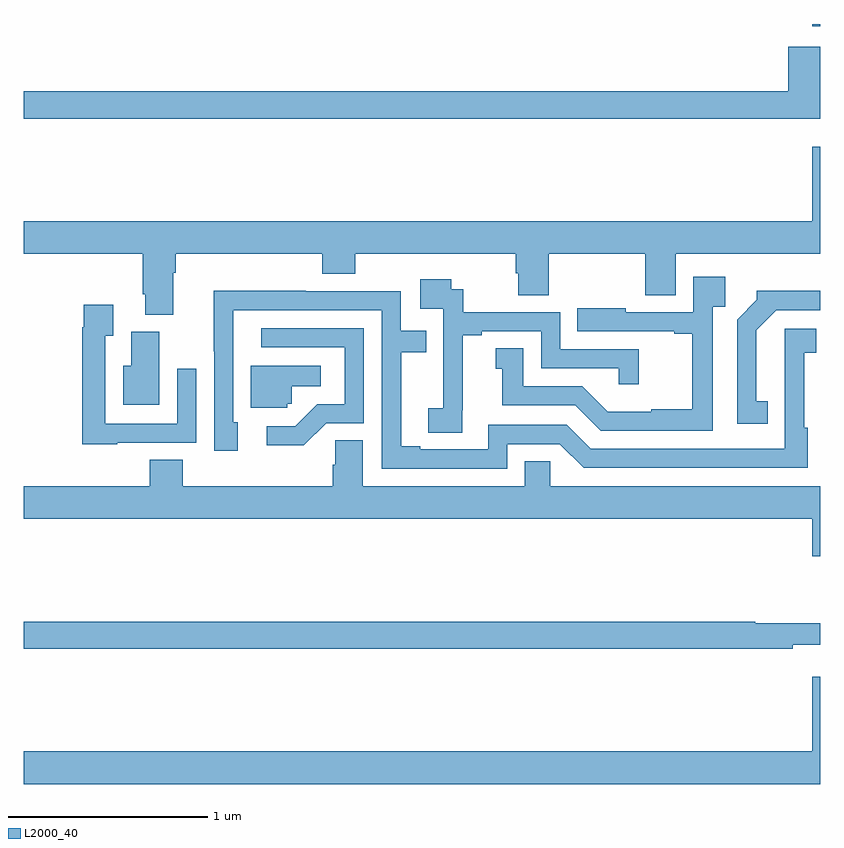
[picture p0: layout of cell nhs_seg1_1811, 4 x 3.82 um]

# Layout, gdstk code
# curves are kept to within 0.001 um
import gdstk
lib = gdstk.Library(unit=1e-6, precision=1e-09)
def R(c, l, rs):  # rectangles x0, y0, x1, y1
    for r in rs: c.add(gdstk.rectangle(r[:2], r[2:], *l))
def P(c, l, *ps):  # polygons
    for p in ps: c.add(gdstk.Polygon(p, *l))
L2000_40 = (2000, 40)

nhs_seg1_1811 = lib.new_cell('nhs_seg1_1811')
R(nhs_seg1_1811, L2000_40, [(212.96,574.188,213,574.199)])
P(nhs_seg1_1811, L2000_40, [(213,574.084),(212.84,574.084),(212.84,573.86),(209,573.86),(209,573.724),(213,573.724)],
  [(209.749,572.948),(209.762,572.948),(209.762,573.044),(210.5,573.044),(210.5,572.945),(210.665,572.945),(210.665,573.044),(211.472,573.044),(211.472,572.946),(211.484,572.946),(211.484,572.836),(211.637,572.836),(211.637,573.044),(212.123,573.044),(212.123,572.836),(212.275,572.836),(212.275,573.044),(213,573.044),(213,573.583),(212.96,573.583),(212.96,573.208),(209,573.208),(209,573.044),(209.597,573.044),(209.597,572.842),(209.609,572.842),(209.609,572.737),(209.749,572.737)],
  [(212.46,572.777),(212.525,572.777),(212.525,572.929),(212.364,572.929),(212.364,572.751),(212.023,572.751),(212.023,572.77),(211.78,572.77),(211.78,572.655),(212.267,572.655),(212.267,572.643),(212.359,572.643),(212.359,572.263),(212.153,572.263),(212.153,572.251),(211.934,572.251),(211.806,572.379),(211.51,572.379),(211.51,572.57),(211.37,572.57),(211.37,572.467),(211.403,572.467),(211.403,572.283),(211.77,572.283),(211.899,572.154),(212.46,572.154)],
  [(211.202,572.257),(211.204,572.257),(211.204,572.635),(211.3,572.635),(211.3,572.655),(211.599,572.655),(211.599,572.469),(211.989,572.469),(211.989,572.388),(212.09,572.388),(212.09,572.565),(211.695,572.565),(211.695,572.751),(211.208,572.751),(211.208,572.865),(211.146,572.865),(211.146,572.917),(210.99,572.917),(210.99,572.769),(211.107,572.769),(211.107,572.465),(211.106,572.465),(211.106,572.268),(211.032,572.268),(211.032,572.146),(211.202,572.146)],
  [(211.428,572.088),(211.692,572.088),(211.812,571.968),(212.939,571.968),(212.939,572.171),(212.922,572.171),(212.922,572.547),(212.98,572.547),(212.98,572.668),(212.822,572.668),(212.823,572.064),(211.848,572.064),(211.728,572.184),(211.332,572.184),(211.332,572.061),(210.991,572.061),(210.991,572.076),(210.895,572.076),(210.895,572.55),(211.022,572.55),(211.022,572.658),(210.894,572.658),(210.894,572.856),(210.416,572.856),(210.416,572.858),(209.954,572.858),(209.955,572.055),(210.073,572.055),(210.073,572.199),(210.051,572.199),(210.051,572.76),(210.798,572.76),(210.798,571.965),(211.428,571.965)],
  [(212.738,572.303),(212.68,572.303),(212.68,572.659),(212.781,572.76),(213,572.76),(213,572.858),(212.682,572.858),(212.682,572.813),(212.583,572.714),(212.583,572.19),(212.738,572.19)],
  [(209.469,572.094),(209.865,572.094),(209.865,572.467),(209.769,572.467),(209.769,572.19),(209.409,572.19),(209.409,572.632),(209.449,572.632),(209.449,572.788),(209.301,572.788),(209.301,572.675),(209.293,572.675),(209.293,572.087),(209.469,572.087)],
  [(210.519,572.193),(210.708,572.193),(210.708,572.67),(210.192,572.67),(210.192,572.574),(210.612,572.574),(210.612,572.289),(210.474,572.289),(210.363,572.178),(210.219,572.178),(210.219,572.081),(210.406,572.081)],
  [(209.68,572.652),(209.54,572.652),(209.54,572.482),(209.498,572.482),(209.498,572.285),(209.68,572.285)],
  [(210.324,572.292),(210.345,572.292),(210.345,572.378),(210.49,572.378),(210.49,572.482),(210.14,572.482),(210.14,572.271),(210.324,572.271)],
  [(209.633,572.009),(209.633,571.876),(209,571.876),(209,571.712),(212.96,571.712),(212.96,571.524),(213,571.524),(213,571.876),(211.644,571.876),(211.644,572.003),(211.517,572.003),(211.517,571.876),(210.703,571.876),(210.703,572.108),(210.564,572.108),(210.564,571.985),(210.551,571.985),(210.551,571.876),(209.798,571.876),(209.798,572.009)],
  [(212.864,571.079),(213,571.079),(213,571.189),(212.674,571.189),(212.674,571.196),(209,571.196),(209,571.06),(212.864,571.06)],
  [(213,570.919),(212.96,570.919),(212.96,570.544),(209,570.544),(209,570.38),(213,570.38)])

lib.write_gds('nhs_seg1_1811.gds')
